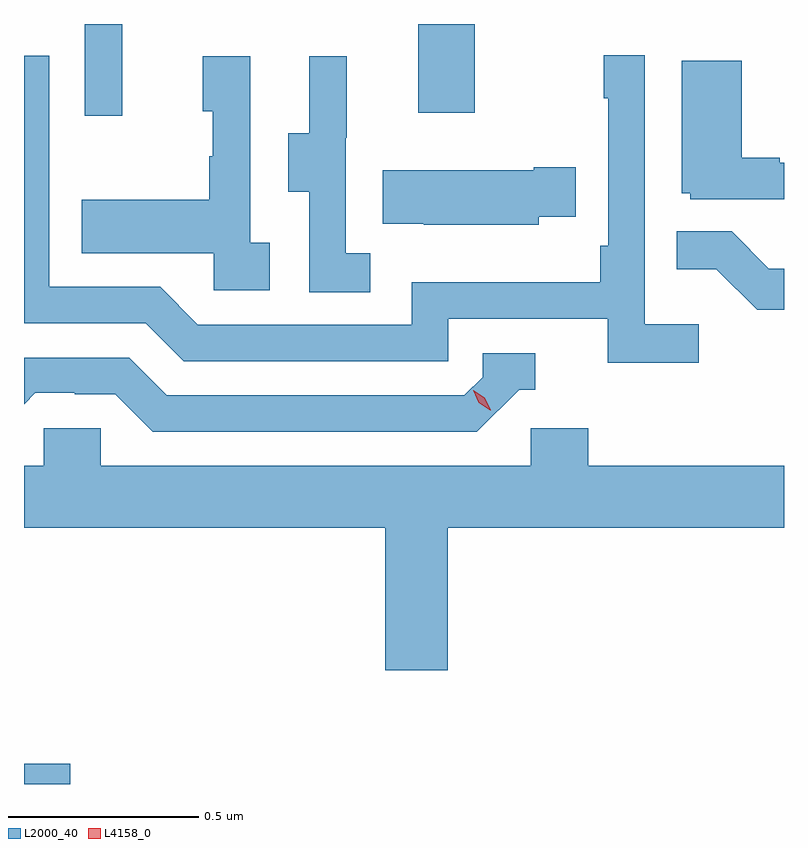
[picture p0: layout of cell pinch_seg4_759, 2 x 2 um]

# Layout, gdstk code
import gdstk
lib = gdstk.Library(unit=1e-6, precision=1e-09)
def R(c, l, rs):  # rectangles x0, y0, x1, y1
    for r in rs: c.add(gdstk.rectangle(r[:2], r[2:], *l))
def P(c, l, *ps):  # polygons
    for p in ps: c.add(gdstk.Polygon(p, *l))
L2000_40 = (2000, 40)
L4158_0 = (4158, 0)

pinch_seg4_759 = lib.new_cell('pinch_seg4_759')
R(pinch_seg4_759, L2000_40, [(871.349,817.458,871.471,817.511), (871.509,819.216,871.607,819.458), (872.387,819.225,872.535,819.458)])
P(pinch_seg4_759, L2000_40, [(873.124,818.668),(872.982,818.668),(872.982,819.376),(872.874,819.376),(872.874,819.263),(872.886,819.263),(872.886,818.875),(872.866,818.875),(872.866,818.779),(872.37,818.779),(872.37,818.667),(871.806,818.667),(871.707,818.766),(871.416,818.766),(871.416,819.375),(871.349,819.375),(871.349,818.67),(871.67,818.67),(871.769,818.571),(872.466,818.571),(872.466,818.682),(872.885,818.682),(872.885,818.566),(873.124,818.566)],
  [(871.996,818.882),(871.944,818.882),(871.944,819.373),(871.82,819.373),(871.82,819.228),(871.846,819.228),(871.846,819.11),(871.836,819.11),(871.836,818.995),(871.501,818.995),(871.501,818.855),(871.848,818.855),(871.848,818.757),(871.996,818.757)],
  [(872.26,818.855),(872.196,818.855),(872.196,819.159),(872.198,819.159),(872.198,819.373),(872.099,819.373),(872.099,819.171),(872.045,819.171),(872.045,819.016),(872.1,819.016),(872.1,818.752),(872.26,818.752)],
  [(873.349,819.093),(873.338,819.093),(873.338,819.106),(873.238,819.106),(873.238,819.361),(873.08,819.361),(873.08,819.012),(873.102,819.012),(873.102,818.997),(873.349,818.997)],
  [(872.703,818.951),(872.801,818.951),(872.801,819.081),(872.69,819.081),(872.69,819.073),(872.293,819.073),(872.293,818.933),(872.401,818.933),(872.401,818.93),(872.703,818.93)],
  [(873.349,818.814),(873.309,818.814),(873.211,818.912),(873.067,818.912),(873.067,818.813),(873.171,818.813),(873.278,818.706),(873.349,818.706)],
  [(872.652,818.496),(872.695,818.496),(872.695,818.592),(872.556,818.592),(872.556,818.529),(872.508,818.481),(871.725,818.481),(871.626,818.58),(871.349,818.58),(871.349,818.457),(871.379,818.487),(871.482,818.487),(871.482,818.484),(871.589,818.484),(871.688,818.385),(872.541,818.385)],
  [(872.464,818.132),(873.349,818.132),(873.349,818.296),(872.834,818.296),(872.834,818.394),(872.682,818.394),(872.682,818.296),(871.551,818.296),(871.551,818.394),(871.401,818.394),(871.401,818.296),(871.349,818.296),(871.349,818.132),(872.3,818.132),(872.3,817.758),(872.464,817.758)])
P(pinch_seg4_759, L4158_0, [(872.576,818.441),(872.546,818.461),(872.531,818.494),(872.531,818.494),(872.531,818.494),(872.561,818.474),(872.577,818.441),(872.577,818.441)])

lib.write_gds('pinch_seg4_759.gds')
